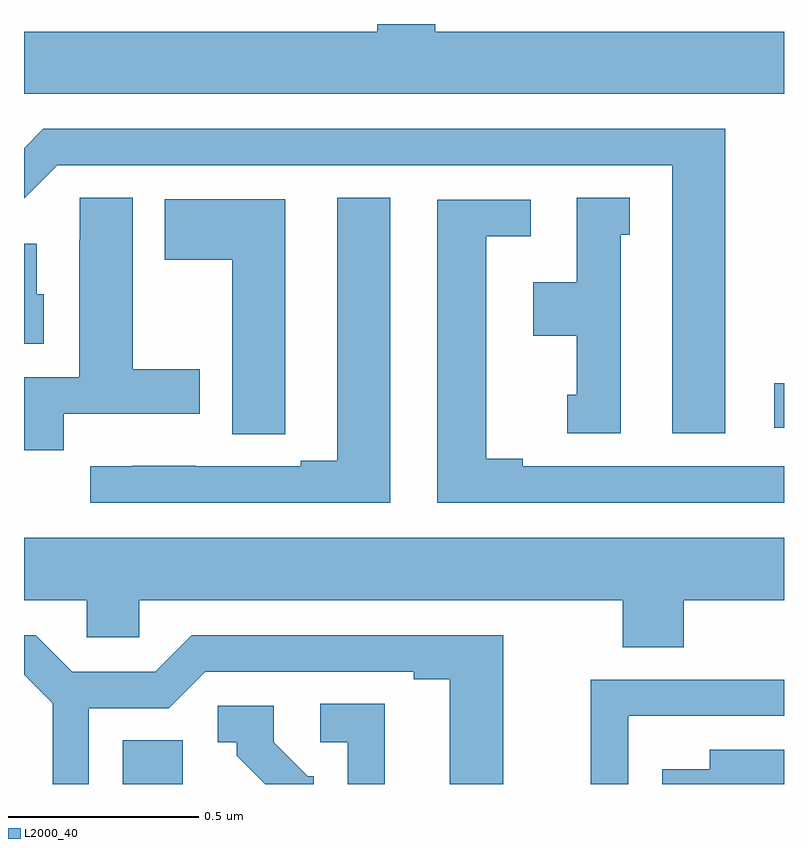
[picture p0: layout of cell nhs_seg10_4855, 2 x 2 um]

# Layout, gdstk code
import gdstk
lib = gdstk.Library(unit=1e-6, precision=1e-09)
def R(c, l, rs):  # rectangles x0, y0, x1, y1
    for r in rs: c.add(gdstk.rectangle(r[:2], r[2:], *l))
def P(c, l, *ps):  # polygons
    for p in ps: c.add(gdstk.Polygon(p, *l))
L2000_40 = (2000, 40)

nhs_seg10_4855 = lib.new_cell('nhs_seg10_4855')
R(nhs_seg10_4855, L2000_40, [(171.26,1298.5,171.418,1298.615), (172.974,1299.438,173,1299.554)])
P(nhs_seg10_4855, L2000_40, [(173,1300.48),(172.082,1300.48),(172.082,1300.5),(171.93,1300.5),(171.93,1300.48),(171,1300.48),(171,1300.316),(173,1300.316)],
  [(172.846,1300.224),(171.051,1300.224),(171,1300.173),(171,1300.041),(171.087,1300.128),(172.706,1300.128),(172.706,1299.423),(172.846,1299.423)],
  [(171.104,1299.474),(171.463,1299.474),(171.463,1299.591),(171.286,1299.591),(171.286,1300.043),(171.147,1300.043),(171.147,1299.932),(171.146,1299.932),(171.146,1299.57),(171,1299.57),(171,1299.378),(171.104,1299.378)],
  [(171.964,1300.043),(171.824,1300.043),(171.824,1299.351),(171.728,1299.351),(171.728,1299.336),(171.452,1299.336),(171.452,1299.337),(171.286,1299.337),(171.286,1299.336),(171.174,1299.336),(171.174,1299.24),(171.964,1299.24)],
  [(172.57,1299.945),(172.594,1299.945),(172.594,1300.043),(172.454,1300.043),(172.454,1299.82),(172.34,1299.82),(172.34,1299.68),(172.454,1299.68),(172.454,1299.525),(172.43,1299.525),(172.43,1299.423),(172.57,1299.423)],
  [(171.687,1299.529),(171.688,1299.529),(171.688,1300.039),(171.371,1300.039),(171.371,1299.88),(171.548,1299.88),(171.548,1299.421),(171.687,1299.421)],
  [(173,1299.336),(172.312,1299.336),(172.312,1299.356),(172.216,1299.356),(172.216,1299.942),(172.333,1299.942),(172.333,1300.038),(172.088,1300.038),(172.088,1299.24),(173,1299.24)],
  [(171.052,1299.789),(171.034,1299.789),(171.034,1299.922),(171,1299.922),(171,1299.659),(171.052,1299.659)],
  [(172.736,1298.984),(173,1298.984),(173,1299.148),(171,1299.148),(171,1298.984),(171.165,1298.984),(171.165,1298.886),(171.303,1298.886),(171.303,1298.984),(172.576,1298.984),(172.576,1298.86),(172.736,1298.86)],
  [(171.171,1298.7),(171.381,1298.7),(171.477,1298.796),(172.025,1298.796),(172.025,1298.776),(172.121,1298.776),(172.121,1298.5),(172.261,1298.5),(172.261,1298.892),(171.441,1298.892),(171.345,1298.796),(171.127,1298.796),(171.031,1298.892),(171,1298.892),(171,1298.787),(171.075,1298.712),(171.075,1298.5),(171.171,1298.5)],
  [(172.59,1298.678),(172.592,1298.678),(172.592,1298.679),(173,1298.679),(173,1298.775),(172.492,1298.775),(172.492,1298.5),(172.59,1298.5)],
  [(171.949,1298.711),(171.78,1298.711),(171.78,1298.61),(171.852,1298.61),(171.852,1298.5),(171.949,1298.5)],
  [(171.762,1298.52),(171.747,1298.52),(171.657,1298.61),(171.657,1298.706),(171.51,1298.706),(171.51,1298.61),(171.56,1298.61),(171.56,1298.575),(171.635,1298.5),(171.762,1298.5)],
  [(173,1298.59),(172.805,1298.59),(172.805,1298.539),(172.68,1298.539),(172.68,1298.5),(173,1298.5)])

lib.write_gds('nhs_seg10_4855.gds')
